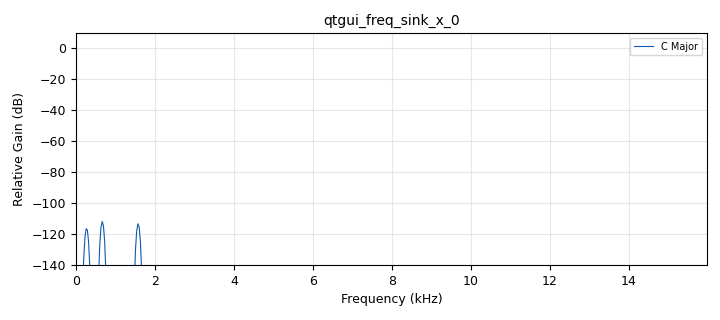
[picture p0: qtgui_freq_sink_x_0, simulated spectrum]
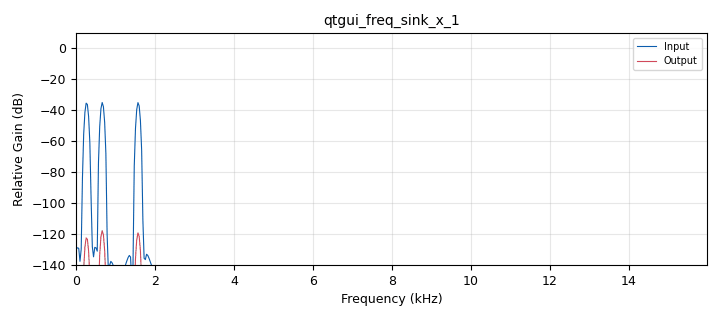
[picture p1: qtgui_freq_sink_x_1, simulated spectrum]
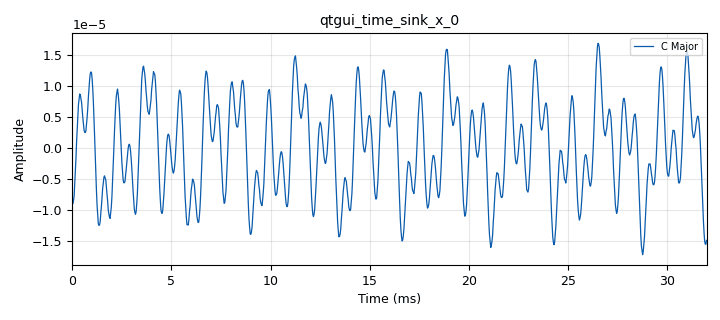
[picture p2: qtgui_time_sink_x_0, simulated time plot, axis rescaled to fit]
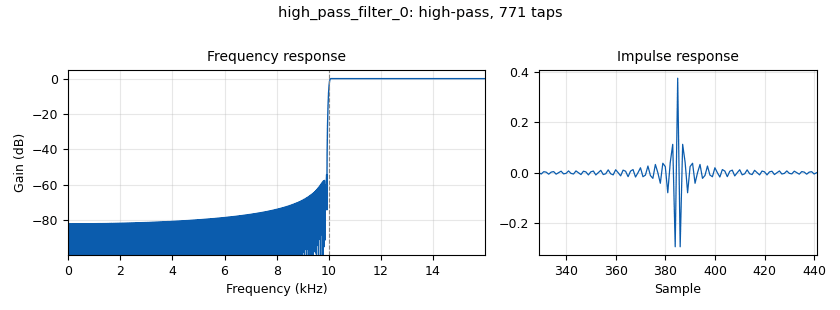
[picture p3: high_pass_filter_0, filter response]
options:
  parameters:
    generate_options: qt_gui
    id: cmajor_fft_hpf
    output_language: python
    title: cmajor fft hpf
  states: {}

blocks:
- name: Freq
  id: variable_qtgui_entry
  parameters:
    type: real
    value: '200'
  states: {}
- name: high_cutoff
  id: variable_qtgui_range
  parameters:
    label: high_cutoff
    start: '100'
    step: '1'
    stop: 15e3
    value: 10e3
  states: {}
- name: samp_rate
  id: variable
  parameters:
    value: '32000'
  states: {}
- name: transition_width
  id: variable_qtgui_range
  parameters:
    label: transition_width
    start: '1'
    step: '1'
    stop: '100'
    value: '100'
  states: {}
- name: analog_sig_source_x_0
  id: analog_sig_source_x
  parameters:
    amp: '0.1'
    freq: '261.6'
    offset: '0'
    phase: '0'
    samp_rate: samp_rate
    type: float
    waveform: analog.GR_COS_WAVE
  states: {}
- name: analog_sig_source_x_0_0
  id: analog_sig_source_x
  parameters:
    amp: '0.1'
    freq: '1568'
    offset: '0'
    phase: '0'
    samp_rate: samp_rate
    type: float
    waveform: analog.GR_COS_WAVE
  states: {}
- name: analog_sig_source_x_0_1
  id: analog_sig_source_x
  parameters:
    amp: '0.1'
    freq: '659.2'
    offset: '0'
    phase: '0'
    samp_rate: samp_rate
    type: float
    waveform: analog.GR_COS_WAVE
  states: {}
- name: audio_sink_0
  id: audio_sink
  parameters:
    samp_rate: samp_rate
  states: {}
- name: blocks_add_xx_1
  id: blocks_add_xx
  parameters:
    num_inputs: '3'
    type: float
  states: {}
- name: blocks_throttle_1
  id: blocks_throttle
  parameters:
    samples_per_second: samp_rate
    type: float
  states: {}
- name: high_pass_filter_0
  id: high_pass_filter
  parameters:
    cutoff_freq: high_cutoff
    decim: '1'
    gain: '1'
    samp_rate: samp_rate
    type: fir_filter_fff
    width: transition_width
    win: window.WIN_HAMMING
  states: {}
- name: qtgui_freq_sink_x_0
  id: qtgui_freq_sink_x
  parameters:
    bw: samp_rate
    ctrlpanel: 'True'
    fc: '0'
    fftsize: '1024'
    freqhalf: 'False'
    grid: 'True'
    label1: C Major
    norm_window: 'True'
    type: float
  states: {}
- name: qtgui_freq_sink_x_1
  id: qtgui_freq_sink_x
  parameters:
    average: '0.2'
    bw: samp_rate
    ctrlpanel: 'True'
    fc: '0'
    fftsize: '1024'
    freqhalf: 'False'
    grid: 'True'
    label1: Input
    label2: Output
    nconnections: '2'
    type: float
  states: {}
- name: qtgui_time_sink_x_0
  id: qtgui_time_sink_x
  parameters:
    ctrlpanel: 'True'
    grid: 'True'
    label1: C Major
    size: '1024'
    srate: samp_rate
    type: float
  states: {}

connections:
- [analog_sig_source_x_0, '0', blocks_add_xx_1, '0']
- [analog_sig_source_x_0_0, '0', blocks_add_xx_1, '2']
- [analog_sig_source_x_0_1, '0', blocks_add_xx_1, '1']
- [blocks_add_xx_1, '0', blocks_throttle_1, '0']
- [blocks_add_xx_1, '0', qtgui_freq_sink_x_1, '0']
- [blocks_throttle_1, '0', high_pass_filter_0, '0']
- [high_pass_filter_0, '0', audio_sink_0, '0']
- [high_pass_filter_0, '0', qtgui_freq_sink_x_0, '0']
- [high_pass_filter_0, '0', qtgui_freq_sink_x_1, '1']
- [high_pass_filter_0, '0', qtgui_time_sink_x_0, '0']

metadata:
  file_format: 1
  grc_version: 3.10.5.1
